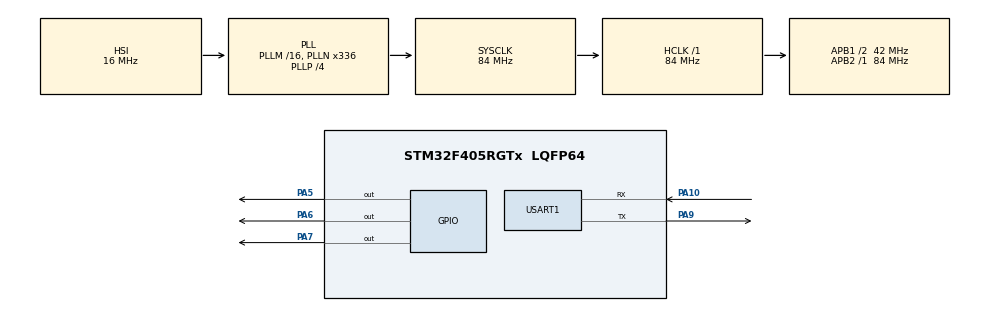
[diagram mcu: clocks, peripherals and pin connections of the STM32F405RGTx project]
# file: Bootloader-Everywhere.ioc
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Mcu.Family=STM32F4
Mcu.Name=STM32F405RGTx
Mcu.Package=LQFP64
NVIC.PriorityGroup=NVIC_PRIORITYGROUP_4
NVIC.USART1_IRQn=true\:0\:0\:false\:false\:true\:true\:true\:true
PA10.Mode=Asynchronous
PA10.Signal=USART1_RX
PA13.Mode=Serial_Wire
PA13.Signal=SYS_JTMS-SWDIO
PA14.Mode=Serial_Wire
PA14.Signal=SYS_JTCK-SWCLK
PA5.Signal=GPIO_Output
PA6.Signal=GPIO_Output
PA7.Signal=GPIO_Output
PA9.Mode=Asynchronous
PA9.Signal=USART1_TX
PH0-OSC_IN.Mode=HSE-External-Oscillator
PH0-OSC_IN.Signal=RCC_OSC_IN
PH1-OSC_OUT.Mode=HSE-External-Oscillator
PH1-OSC_OUT.Signal=RCC_OSC_OUT
ProjectManager.HeapSize=0x2000
ProjectManager.StackSize=0x4000
ProjectManager.TargetToolchain=MDK-ARM V5.32
RCC.48MHZClocksFreq_Value=84000000
RCC.AHBFreq_Value=84000000
RCC.APB1CLKDivider=RCC_HCLK_DIV2
RCC.APB1Freq_Value=42000000
RCC.APB1TimFreq_Value=84000000
RCC.APB2CLKDivider=RCC_HCLK_DIV1
RCC.APB2Freq_Value=84000000
RCC.APB2TimFreq_Value=84000000
RCC.CortexFreq_Value=84000000
RCC.HCLKFreq_Value=84000000
RCC.HSE_VALUE=25000000
RCC.HSI_VALUE=16000000
RCC.LSE_VALUE=32768
RCC.PLLM=25
RCC.PLLN=336
RCC.PLLSourceVirtual=RCC_PLLSOURCE_HSE
RCC.SYSCLKFreq_VALUE=84000000
RCC.SYSCLKSource=RCC_SYSCLKSOURCE_PLLCLK
RCC.VCOOutputFreq_Value=336000000
USART1.VirtualMode=VM_ASYNC
board=custom

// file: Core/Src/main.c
/* USER CODE BEGIN Header */
/**
  ******************************************************************************
  * @file           : main.c
  * @brief          : Main program body
  ******************************************************************************
  * @attention
  *
  * Copyright (c) 2026 STMicroelectronics.
  * All rights reserved.
  *
  * This software is licensed under terms that can be found in the LICENSE file
  * in the root directory of this software component.
  * If no LICENSE file comes with this software, it is provided AS-IS.
  *
  ******************************************************************************
  */
/* USER CODE END Header */
#include "main.h"
#include "usart.h"
#include "gpio.h"

/* USER CODE BEGIN Includes */
#include "common_inc.h"      /* 声明了 UserApp/main.cpp 里的 Main() */
/* USER CODE END Includes */

void SystemClock_Config(void);

/* USER CODE BEGIN 0 */
static void clockHsi16(void);
/* USER CODE END 0 */

int main(void)
{
  /* MCU Configuration--------------------------------------------------------*/

  /* Reset of all peripherals, Initializes the Flash interface and the Systick. */
  HAL_Init();

  /* Configure the system clock */
  SystemClock_Config();

  /* Initialize all configured peripherals */
  MX_GPIO_Init();
  MX_USART1_UART_Init();

  /* USER CODE BEGIN 2 */
  Main();                    /* 本工程自己的代码全在 UserApp/main.cpp 里 */
  /* USER CODE END 2 */

  /* Infinite loop */
  while (1)
  {

  }
}

void SystemClock_Config(void)
{
  RCC_OscInitTypeDef osc = {0};
  RCC_ClkInitTypeDef clk = {0};

  __HAL_RCC_PWR_CLK_ENABLE();
  __HAL_PWR_VOLTAGESCALING_CONFIG(PWR_REGULATOR_VOLTAGE_SCALE2);

  /* HSI 16MHz --PLLM=16--> 1MHz --PLLN=336--> 336MHz --PLLP=4--> 84MHz
   *
   * 用 HSI 而不是 HSE：本板的 HSE 晶振起不来（实测 HSERDY 恒为 0），
   * 依赖它会导致跑不起来。HSI 精度约 ±1%，对 115200 波特率完全够用。
   * 换回外部晶振：PLLSource 改 RCC_PLLSOURCE_HSE、PLLM 改成晶振频率（MHz），
   * 并把 stm32f4xx_hal_conf.h 的 HSE_VALUE 设成一致。
   */
  osc.OscillatorType      = RCC_OSCILLATORTYPE_HSI;
  osc.HSIState            = RCC_HSI_ON;
  osc.HSICalibrationValue = RCC_HSICALIBRATION_DEFAULT;
  osc.PLL.PLLState        = RCC_PLL_ON;
  osc.PLL.PLLSource       = RCC_PLLSOURCE_HSI;
  osc.PLL.PLLM            = 16;
  osc.PLL.PLLN            = 336;
  osc.PLL.PLLP            = RCC_PLLP_DIV4;
  osc.PLL.PLLQ            = 7;
  if (HAL_RCC_OscConfig(&osc) != HAL_OK)
  {
    clockHsi16();            /* PLL 起不来就退回纯 HSI，至少串口还能用 */
    return;
  }

  clk.ClockType      = RCC_CLOCKTYPE_HCLK | RCC_CLOCKTYPE_SYSCLK |
                       RCC_CLOCKTYPE_PCLK1 | RCC_CLOCKTYPE_PCLK2;
  clk.SYSCLKSource   = RCC_SYSCLKSOURCE_PLLCLK;
  clk.AHBCLKDivider  = RCC_SYSCLK_DIV1;
  clk.APB1CLKDivider = RCC_HCLK_DIV2;
  clk.APB2CLKDivider = RCC_HCLK_DIV1;
  if (HAL_RCC_ClockConfig(&clk, FLASH_LATENCY_2) != HAL_OK)
  {
    clockHsi16();
  }
}

/* USER CODE BEGIN 4 */

/**
  * @brief 兜底：直接用 HSI 16MHz，不启用 PLL（PLL 配置异常时至少能跑）
  */
static void clockHsi16(void)
{
  RCC_OscInitTypeDef osc = {0};
  RCC_ClkInitTypeDef clk = {0};

  osc.OscillatorType      = RCC_OSCILLATORTYPE_HSI;
  osc.HSIState            = RCC_HSI_ON;
  osc.HSICalibrationValue = RCC_HSICALIBRATION_DEFAULT;
  osc.PLL.PLLState        = RCC_PLL_NONE;
  if (HAL_RCC_OscConfig(&osc) != HAL_OK)
  {
    Error_Handler();
  }

  clk.ClockType      = RCC_CLOCKTYPE_HCLK | RCC_CLOCKTYPE_SYSCLK |
                       RCC_CLOCKTYPE_PCLK1 | RCC_CLOCKTYPE_PCLK2;
  clk.SYSCLKSource   = RCC_SYSCLKSOURCE_HSI;
  clk.AHBCLKDivider  = RCC_SYSCLK_DIV1;
  clk.APB1CLKDivider = RCC_HCLK_DIV1;
  clk.APB2CLKDivider = RCC_HCLK_DIV1;
  if (HAL_RCC_ClockConfig(&clk, FLASH_LATENCY_0) != HAL_OK)
  {
    Error_Handler();
  }
}

/* USER CODE END 4 */

void Error_Handler(void)
{
  __disable_irq();
  while (1)
  {
  }
}
